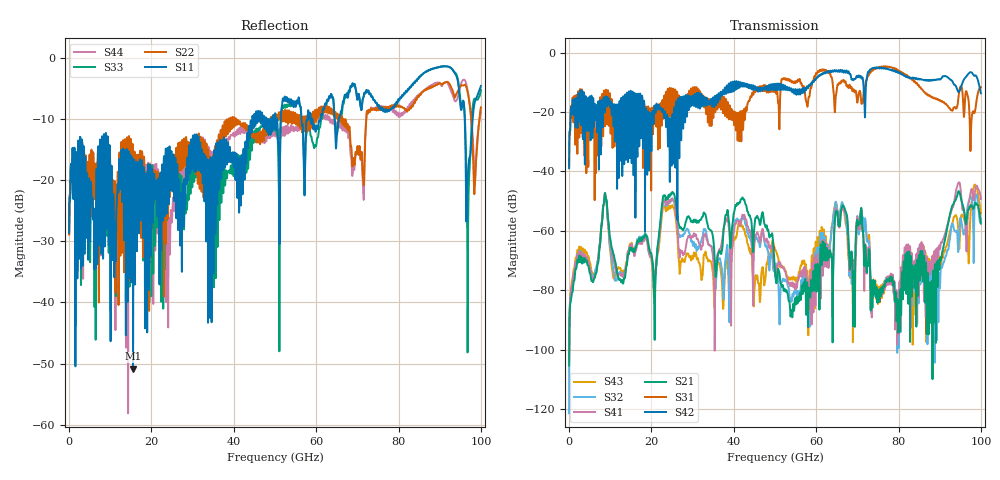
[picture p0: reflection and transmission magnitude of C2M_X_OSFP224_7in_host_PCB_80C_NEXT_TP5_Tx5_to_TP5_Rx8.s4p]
# GHz S RI R 45
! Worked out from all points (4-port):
!   4000 points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, 25 MHz to 100 GHz, reference 45 ohm
!   strongest paths, dB at 25 MHz, 25.02 GHz, 50.02 GHz, 75.03 GHz, 100 GHz:
!     S42: -38.9, -23.5, -10.4, -5.1, -13.7
!     S31: -38.4, -15.7, -11.5, -5.0, -11.6
!     S21: -105.3, -47.1, -74.0, -80.7, -57.6
!     S41: -104.3, -49.2, -74.4, -80.8, -49.3
!     S32: -121.5, -49.2, -71.8, -81.2, -56.3
!     S43: -101.8, -51.5, -66.2, -84.7, -54.1
!   lowest |S11| = -50.8 dB at 15.55 GHz (marker M1), VSWR 1.01, Z = 45.1 + j0.253 ohm
!   |S11| at or under -10 dB: start of sweep to 44.48 GHz; 59.1 GHz to 61.02 GHz (1.918 GHz wide, 3.19 % of centre); 96.08 GHz to 98 GHz (1.927 GHz wide, 1.99 % of centre) (the widest 3 of 20)
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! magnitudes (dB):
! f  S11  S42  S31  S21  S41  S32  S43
! 25 MHz  -28.6  -38.9  -38.4  -105.3  -104.3  -121.5  -101.8
! 15.55 GHz  -50.8  -15.5  -20.4  -66.5  -66.5  -66.3  -65.9
! 42.15 GHz  -22.3  -11.1  -21.6  -48.8  -54.6  -55.1  -58.3
! 55.73 GHz  -6.4  -13.7  -9.4  -82.6  -76.5  -82.7  -74.5
! 66.38 GHz  -7.6  -5.9  -9.7  -51.5  -52.4  -50.5  -51.8
! 79.65 GHz  -7.4  -6.4  -5.7  -84.1  -98.1  -91.8  -85.2
! 100 GHz  -4.6  -13.7  -11.6  -57.6  -49.3  -56.3  -54.1
